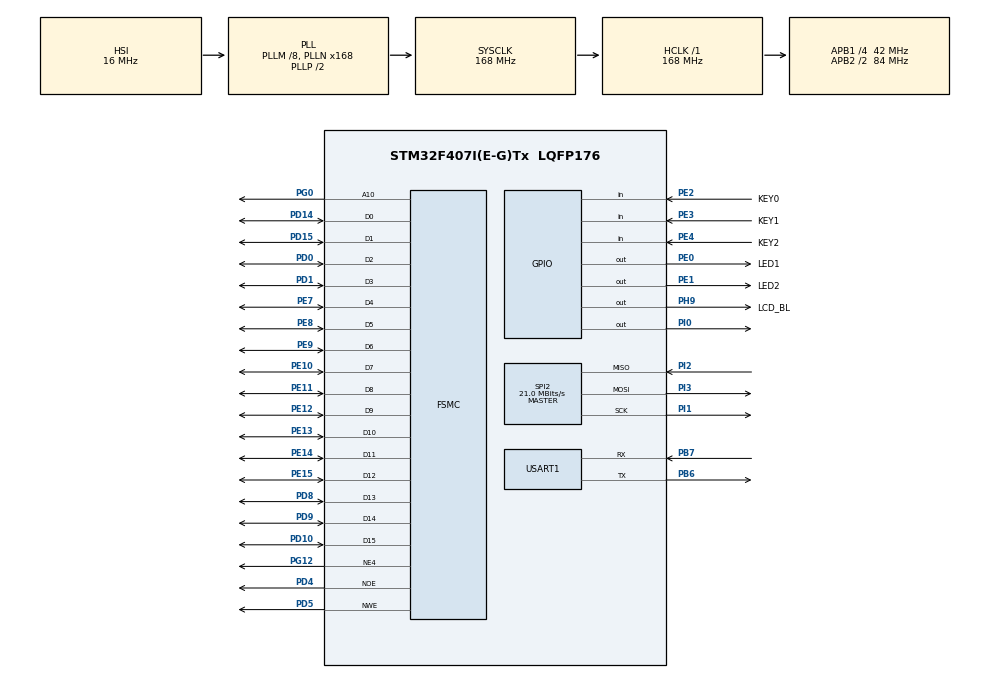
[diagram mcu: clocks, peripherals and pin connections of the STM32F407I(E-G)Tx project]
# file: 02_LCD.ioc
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FSMC.AddressSetupTime4=2
FSMC.BusTurnAroundDuration4=0
FSMC.DataSetupTime4=5
FSMC.ExtendedAddressSetupTime4=0
FSMC.ExtendedBusTurnAroundDuration4=0
FSMC.ExtendedMode4=FSMC_EXTENDED_MODE_ENABLE
Mcu.Family=STM32F4
Mcu.Name=STM32F407I(E-G)Tx
Mcu.Package=LQFP176
NVIC.PriorityGroup=NVIC_PRIORITYGROUP_4
PA13.Mode=Serial_Wire
PA13.Signal=SYS_JTMS-SWDIO
PA14.Mode=Serial_Wire
PA14.Signal=SYS_JTCK-SWCLK
PB6.Mode=Asynchronous
PB6.Signal=USART1_TX
PB7.Mode=Asynchronous
PB7.Signal=USART1_RX
PD0.Signal=FSMC_D2_DA2
PD1.Signal=FSMC_D3_DA3
PD10.Signal=FSMC_D15_DA15
PD14.Signal=FSMC_D0_DA0
PD15.Signal=FSMC_D1_DA1
PD4.Signal=FSMC_NOE
PD5.Signal=FSMC_NWE
PD8.Signal=FSMC_D13_DA13
PD9.Signal=FSMC_D14_DA14
PE0.GPIO_Label=LED1
PE0.GPIO_PuPd=GPIO_NOPULL
PE0.PinState=GPIO_PIN_SET
PE0.Signal=GPIO_Output
PE1.GPIO_Label=LED2
PE1.GPIO_PuPd=GPIO_NOPULL
PE1.PinState=GPIO_PIN_SET
PE1.Signal=GPIO_Output
PE10.Signal=FSMC_D7_DA7
PE11.Signal=FSMC_D8_DA8
PE12.Signal=FSMC_D9_DA9
PE13.Signal=FSMC_D10_DA10
PE14.Signal=FSMC_D11_DA11
PE15.Signal=FSMC_D12_DA12
PE2.GPIO_Label=KEY0
PE2.GPIO_PuPd=GPIO_PULLUP
PE2.Signal=GPIO_Input
PE3.GPIO_Label=KEY1
PE3.GPIO_PuPd=GPIO_PULLUP
PE3.Signal=GPIO_Input
PE4.GPIO_Label=KEY2
PE4.GPIO_PuPd=GPIO_PULLUP
PE4.Signal=GPIO_Input
PE7.Signal=FSMC_D4_DA4
PE8.Signal=FSMC_D5_DA5
PE9.Signal=FSMC_D6_DA6
PG0.Signal=FSMC_A10
PG12.Mode=NorPsramChipSelect4_4
PG12.Signal=FSMC_NE4
PH0-OSC_IN.Mode=HSE-External-Oscillator
PH0-OSC_IN.Signal=RCC_OSC_IN
PH1-OSC_OUT.Mode=HSE-External-Oscillator
PH1-OSC_OUT.Signal=RCC_OSC_OUT
PH9.GPIO_Label=LCD_BL
PH9.Signal=GPIO_Output
PI0.GPIO_PuPd=GPIO_PULLUP
PI0.GPIO_Speed=GPIO_SPEED_FREQ_VERY_HIGH
PI0.Signal=GPIO_Output
PI1.Mode=Full_Duplex_Master
PI1.Signal=SPI2_SCK
PI2.Mode=Full_Duplex_Master
PI2.Signal=SPI2_MISO
PI3.Mode=Full_Duplex_Master
PI3.Signal=SPI2_MOSI
ProjectManager.HeapSize=0x200
ProjectManager.StackSize=0x400
ProjectManager.TargetToolchain=MDK-ARM V5.32
RCC.48MHZClocksFreq_Value=84000000
RCC.AHBFreq_Value=168000000
RCC.APB1CLKDivider=RCC_HCLK_DIV4
RCC.APB1Freq_Value=42000000
RCC.APB1TimFreq_Value=84000000
RCC.APB2CLKDivider=RCC_HCLK_DIV2
RCC.APB2Freq_Value=84000000
RCC.APB2TimFreq_Value=168000000
RCC.CortexFreq_Value=168000000
RCC.HCLKFreq_Value=168000000
RCC.HSE_VALUE=8000000
RCC.HSI_VALUE=16000000
RCC.LSE_VALUE=32768
RCC.PLLM=8
RCC.PLLN=168
RCC.SYSCLKFreq_VALUE=168000000
RCC.SYSCLKSource=RCC_SYSCLKSOURCE_PLLCLK
RCC.VCOOutputFreq_Value=336000000
SH.FSMC_A10.0=FSMC_A10,A10_4
SH.FSMC_D0_DA0.0=FSMC_D0,16b-d4
SH.FSMC_D10_DA10.0=FSMC_D10,16b-d4
SH.FSMC_D11_DA11.0=FSMC_D11,16b-d4
SH.FSMC_D12_DA12.0=FSMC_D12,16b-d4
SH.FSMC_D13_DA13.0=FSMC_D13,16b-d4
SH.FSMC_D14_DA14.0=FSMC_D14,16b-d4
SH.FSMC_D15_DA15.0=FSMC_D15,16b-d4
SH.FSMC_D1_DA1.0=FSMC_D1,16b-d4
SH.FSMC_D2_DA2.0=FSMC_D2,16b-d4
SH.FSMC_D3_DA3.0=FSMC_D3,16b-d4
SH.FSMC_D4_DA4.0=FSMC_D4,16b-d4
SH.FSMC_D5_DA5.0=FSMC_D5,16b-d4
SH.FSMC_D6_DA6.0=FSMC_D6,16b-d4
SH.FSMC_D7_DA7.0=FSMC_D7,16b-d4
SH.FSMC_D8_DA8.0=FSMC_D8,16b-d4
SH.FSMC_D9_DA9.0=FSMC_D9,16b-d4
SH.FSMC_NOE.0=FSMC_NOE,Lcd4
SH.FSMC_NWE.0=FSMC_NWE,Lcd4
SPI2.BaudRatePrescaler=SPI_BAUDRATEPRESCALER_2
SPI2.CLKPhase=SPI_PHASE_2EDGE
SPI2.CLKPolarity=SPI_POLARITY_HIGH
SPI2.CRCCalculation=SPI_CRCCALCULATION_DISABLE
SPI2.CalculateBaudRate=21.0 MBits/s
SPI2.Direction=SPI_DIRECTION_2LINES
SPI2.Mode=SPI_MODE_MASTER
SPI2.VirtualType=VM_MASTER
USART1.VirtualMode=VM_ASYNC
board=custom

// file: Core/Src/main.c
/* USER CODE BEGIN Header */
/**
  ******************************************************************************
  * @file           : main.c
  * @brief          : Main program body
  ******************************************************************************
  * @attention
  *
  * Copyright (c) 2026 STMicroelectronics.
  * All rights reserved.
  *
  * This software is licensed under terms that can be found in the LICENSE file
  * in the root directory of this software component.
  * If no LICENSE file comes with this software, it is provided AS-IS.
  *
  ******************************************************************************
  */
/* USER CODE END Header */
#include "main.h"
#include "spi.h"
#include "usart.h"
#include "gpio.h"
#include "fsmc.h"

/* USER CODE BEGIN Includes */
#include "lcd.h"
#include "key_led.h"
#include "norflash.h"

/* USER CODE END Includes */

void SystemClock_Config(void);

int main(void)
{

  /* MCU Configuration--------------------------------------------------------*/

  /* Reset of all peripherals, Initializes the Flash interface and the Systick. */
  HAL_Init();

  /* USER CODE BEGIN Init */
  uint16_t id = 0;
  /* USER CODE END Init */

  /* Configure the system clock */
  SystemClock_Config();

  /* Initialize all configured peripherals */
  MX_GPIO_Init();
  MX_FSMC_Init();
  MX_SPI2_Init();
  MX_USART1_UART_Init();
  /* USER CODE BEGIN 2 */
  DWT_Init(); // 初始化DWT

  Key_Init();
  Led_Init();
  lcd_init();
  norflash_init();

  lcd_show_string(10, 50, 300, 32, 32, "FFFER_TEST", RED);
  lcd_show_string(10, 85, 450, 24, 24, "KEY TEST", BLUE);

  id = norflash_read_id();                /* 读取FLASH ID */
  char id_str[16];
  sprintf(id_str, "ID:0x%X", id);
  lcd_show_string(10, 150, 200, 24, 24, id_str, MAGENTA);
  /* USER CODE END 2 */

  /* Infinite loop */
  /* USER CODE BEGIN WHILE */
    KeyPressedID key_id = KEY_None;
  while (1)
  {
    /* USER CODE END WHILE */

    /* USER CODE BEGIN 3 */
    key_id = Key_Scan();
    if(key_id == KEY0_Pressed){
        lcd_show_string(10, 115, 200, 24, 24, "key 0 pressed.", BLUE);
        Led_Toggle(LED1);
    }
    else if(key_id == KEY1_Pressed){
        lcd_show_string(10, 115, 200, 24, 24, "key 1 pressed.", BLUE);
        Led_Toggle(LED2);
    }
    else if(key_id == KEY2_Pressed){
        lcd_show_string(10, 115, 200, 24, 24, "key 2 pressed.", BLUE);
        Led_Toggle(LED1);
        Led_Toggle(LED2);
    }
  }
  /* USER CODE END 3 */
}

void SystemClock_Config(void)
{
  RCC_OscInitTypeDef RCC_OscInitStruct = {0};
  RCC_ClkInitTypeDef RCC_ClkInitStruct = {0};

  /** Configure the main internal regulator output voltage
  */
  __HAL_RCC_PWR_CLK_ENABLE();
  __HAL_PWR_VOLTAGESCALING_CONFIG(PWR_REGULATOR_VOLTAGE_SCALE1);

  /** Initializes the RCC Oscillators according to the specified parameters
  * in the RCC_OscInitTypeDef structure.
  */
  RCC_OscInitStruct.OscillatorType = RCC_OSCILLATORTYPE_HSI;
  RCC_OscInitStruct.HSIState = RCC_HSI_ON;
  RCC_OscInitStruct.HSICalibrationValue = RCC_HSICALIBRATION_DEFAULT;
  RCC_OscInitStruct.PLL.PLLState = RCC_PLL_ON;
  RCC_OscInitStruct.PLL.PLLSource = RCC_PLLSOURCE_HSI;
  RCC_OscInitStruct.PLL.PLLM = 8;
  RCC_OscInitStruct.PLL.PLLN = 168;
  RCC_OscInitStruct.PLL.PLLP = RCC_PLLP_DIV2;
  RCC_OscInitStruct.PLL.PLLQ = 4;
  if (HAL_RCC_OscConfig(&RCC_OscInitStruct) != HAL_OK)
  {
    Error_Handler();
  }

  /** Initializes the CPU, AHB and APB buses clocks
  */
  RCC_ClkInitStruct.ClockType = RCC_CLOCKTYPE_HCLK|RCC_CLOCKTYPE_SYSCLK
                              |RCC_CLOCKTYPE_PCLK1|RCC_CLOCKTYPE_PCLK2;
  RCC_ClkInitStruct.SYSCLKSource = RCC_SYSCLKSOURCE_PLLCLK;
  RCC_ClkInitStruct.AHBCLKDivider = RCC_SYSCLK_DIV1;
  RCC_ClkInitStruct.APB1CLKDivider = RCC_HCLK_DIV4;
  RCC_ClkInitStruct.APB2CLKDivider = RCC_HCLK_DIV2;

  if (HAL_RCC_ClockConfig(&RCC_ClkInitStruct, FLASH_LATENCY_5) != HAL_OK)
  {
    Error_Handler();
  }
}

void Error_Handler(void)
{
  __disable_irq();
  while (1)
  {
  }
}
